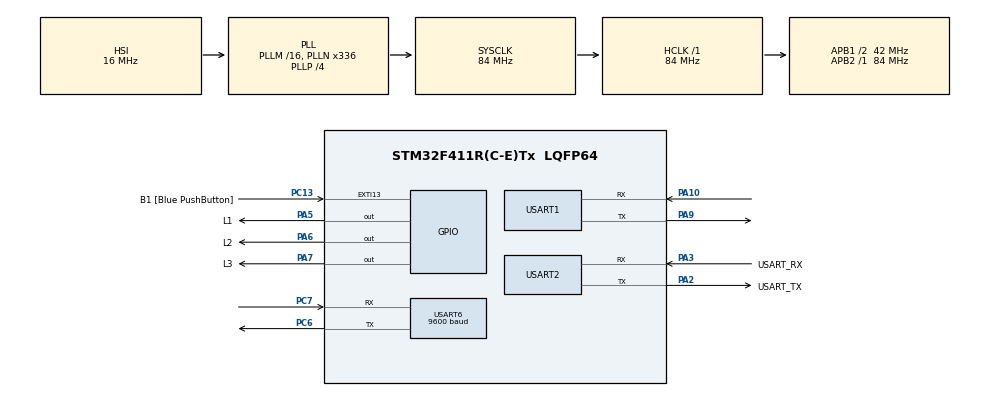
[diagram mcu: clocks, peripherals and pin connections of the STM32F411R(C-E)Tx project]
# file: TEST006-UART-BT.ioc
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Mcu.Family=STM32F4
Mcu.Name=STM32F411R(C-E)Tx
Mcu.Package=LQFP64
NVIC.EXTI15_10_IRQn=true\:0\:0\:false\:false\:true\:true\:true\:true
NVIC.PriorityGroup=NVIC_PRIORITYGROUP_0
NVIC.USART2_IRQn=true\:0\:0\:false\:false\:true\:true\:true\:true
NVIC.USART6_IRQn=true\:0\:0\:false\:false\:true\:true\:true\:true
PA10.Mode=Asynchronous
PA10.Signal=USART1_RX
PA13.GPIO_Label=TMS
PA13.Mode=Serial_Wire
PA13.Signal=SYS_JTMS-SWDIO
PA14.GPIO_Label=TCK
PA14.Mode=Serial_Wire
PA14.Signal=SYS_JTCK-SWCLK
PA2.GPIO_Label=USART_TX
PA2.Mode=Asynchronous
PA2.Signal=USART2_TX
PA3.GPIO_Label=USART_RX
PA3.Mode=Asynchronous
PA3.Signal=USART2_RX
PA5.GPIO_Label=L1
PA5.Signal=GPIO_Output
PA6.GPIO_Label=L2
PA6.Signal=GPIO_Output
PA7.GPIO_Label=L3
PA7.Signal=GPIO_Output
PA9.Mode=Asynchronous
PA9.Signal=USART1_TX
PB3.GPIO_Label=SWO
PB3.Signal=SYS_JTDO-SWO
PC13-ANTI_TAMP.GPIO_Label=B1 [Blue PushButton]
PC13-ANTI_TAMP.GPIO_ModeDefaultEXTI=GPIO_MODE_IT_FALLING
PC13-ANTI_TAMP.Signal=GPXTI13
PC14-OSC32_IN.Mode=LSE-External-Oscillator
PC14-OSC32_IN.Signal=RCC_OSC32_IN
PC15-OSC32_OUT.Mode=LSE-External-Oscillator
PC15-OSC32_OUT.Signal=RCC_OSC32_OUT
PC6.Mode=Asynchronous
PC6.Signal=USART6_TX
PC7.Mode=Asynchronous
PC7.Signal=USART6_RX
PH0\ -\ OSC_IN.Mode=HSE-External-Clock-Source
PH0\ -\ OSC_IN.Signal=RCC_OSC_IN
PH1\ -\ OSC_OUT.Mode=HSE-External-Clock-Source
PH1\ -\ OSC_OUT.Signal=RCC_OSC_OUT
ProjectManager.HeapSize=0x200
ProjectManager.StackSize=0x400
ProjectManager.TargetToolchain=STM32CubeIDE
RCC.48MHZClocksFreq_Value=84000000
RCC.AHBFreq_Value=84000000
RCC.APB1CLKDivider=RCC_HCLK_DIV2
RCC.APB1Freq_Value=42000000
RCC.APB1TimFreq_Value=84000000
RCC.APB2Freq_Value=84000000
RCC.APB2TimFreq_Value=84000000
RCC.CortexFreq_Value=84000000
RCC.FLatency-AdvancedSettings=FLASH_LATENCY_2
RCC.HCLKFreq_Value=84000000
RCC.HSE_VALUE=8000000
RCC.HSI_VALUE=16000000
RCC.PLLN=336
RCC.PLLP=RCC_PLLP_DIV4
RCC.SYSCLKFreq_VALUE=84000000
RCC.SYSCLKSource=RCC_SYSCLKSOURCE_PLLCLK
RCC.VCOOutputFreq_Value=336000000
USART1.VirtualMode=VM_ASYNC
USART2.VirtualMode=VM_ASYNC
USART6.BaudRate=9600
USART6.VirtualMode=VM_ASYNC
board=NUCLEO-F411RE

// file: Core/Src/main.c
/* USER CODE BEGIN Header */
/**
  ******************************************************************************
  * @file           : main.c
  * @brief          : Main program body
  ******************************************************************************
  * @attention
  *
  * Copyright (c) 2024 STMicroelectronics.
  * All rights reserved.
  *
  * This software is licensed under terms that can be found in the LICENSE file
  * in the root directory of this software component.
  * If no LICENSE file comes with this software, it is provided AS-IS.
  *
  ******************************************************************************
  */
/* USER CODE END Header */
#include "main.h"

/* USER CODE BEGIN Includes */
#include "myLib.h"
#include <stdio.h>
/* USER CODE END Includes */

UART_HandleTypeDef huart1;
UART_HandleTypeDef huart2;
UART_HandleTypeDef huart6;

void SystemClock_Config(void);
static void MX_GPIO_Init(void);
static void MX_USART2_UART_Init(void);
static void MX_USART6_UART_Init(void);
static void MX_USART1_UART_Init(void);

/* USER CODE BEGIN 0 */
void HAL_GPIO_EXTI_Callback(uint16_t GPIO_Pin)
{

}
extern myCMDSET myCmd[];
extern myBuffer Buf;
myBuffer *Buf1, *Buf2;	// null pointer
char dum1, dum2;
int idx1 = 0, idx2 = 0;
int eol = 0;
void HAL_UART_RxCpltCallback(UART_HandleTypeDef *huart)
{
	if(huart == &huart6) // address of handle
	{
		Buf1->v0[idx1++] = dum1;
		HAL_UART_Receive_IT(&huart6, &dum1, 1);
	}
	else if(huart == &huart2)	// KBD input by Putty
	{
		if(dum2 == '\r')		//[Enter] key
		{
			HAL_UART_Transmit(&huart2, "\r\n", 2, 10);		// Echo
			HAL_UART_Transmit(&huart6, Buf2, idx2, 100);	// redirection to Bluetooth
			switch(eol)
			{
			case 1:
				HAL_UART_Transmit(&huart6, "\r\n", 2, 10);		// CRLF
				break;
			case 2:
				HAL_UART_Transmit(&huart6, "\n", 1, 10);		// LF
				break;
			case 3:
				HAL_UART_Transmit(&huart6, "\0", 1, 10);		// NULL
				break;
			case 4:
				HAL_UART_Transmit(&huart6, "", 1, 10);		// NULL
				break;
			}

			idx2 = 0; // buffer = 0
		}
		else
		{
			HAL_UART_Transmit(&huart2, &dum2, 1, 10); // Echo
			Buf2->v0[idx2++] = dum2;
			Buf2->v0[idx2] = 0;	// Null
		}
		HAL_UART_Receive_IT(&huart2, &dum2, 1);
	}
}

char *p[10];	//	pointer array

/* USER CODE END 0 */

int main(void)
{

  /* USER CODE BEGIN 1 */
	myBuffer b1, b2;
	Buf1 = &b1;
	Buf2 = &b2;

	char *RED = "RED\0\r";
	char *GREEN = "GREEN\0\r";
	char *BLUE = "BLUE\0\r";
  /* USER CODE END 1 */

  /* MCU Configuration--------------------------------------------------------*/

  /* Reset of all peripherals, Initializes the Flash interface and the Systick. */
  HAL_Init();

  /* Configure the system clock */
  SystemClock_Config();

  /* Initialize all configured peripherals */
  MX_GPIO_Init();
  MX_USART2_UART_Init();
  MX_USART6_UART_Init();
  MX_USART1_UART_Init();
  /* USER CODE BEGIN 2 */

  ProgramStart("UART - Bluetooth"); Cursor(1);
  printf("Select EOL \r\n 1:CRLF\r\n 2:LF\r\n 3:NULL\r\n 4:none\r\n");
  setvbuf(stdin, NULL, _IONBF, 0);
  scanf("%d", &eol);
  char *t1 = "   Test string   ";
  char *t2 = Trim(t1);	// "test string"
  printf("Before : ([%s]) = [%s]\r\n", t1, t2);	free(t2);
  printf("After :([%s]) = [%s]\r\n", t1, t2);

  printf("your select is %d. \r\n", eol);
  HAL_UART_Receive_IT(&huart6, &dum1, 1);
  HAL_UART_Receive_IT(&huart2, &dum2, 1);
  /* USER CODE END 2 */

  /* Infinite loop */
  while (1)
  {

    /* USER CODE BEGIN 3 */
	if(idx1)
	{
		Buf1->v0[idx1] = 0;
		printf("%s\r\n", Buf1);

		int r = Parsing(Buf1, p);	// (Buf1, a1, a2, a3);  return val : 1:cmd,   2:optionl    3:option2
		if(r > 0)
		{
			printf("Parsing ---> [%s]  [%s]  [%s] \r\n", p[0], p[1], p[2]);
			if(myStrncmp(p[0], "LED", 3) == 0) LED_Control();
//			else if(strncmp(p[0], "MOTOR", 5) == 0) MOTOR_Control();
//			else if(strncmp(p[0], "BUZZER", 6) == 0) BUZZER_Control();
		}
		idx1 = 0;
	}
	HAL_Delay(500);
  }

		/*if(strncmp(Buf1, "RED", 3) == 0)	//string compare
		{
			HAL_GPIO_WritePin(RED_GPIO_Port, RED_Pin,1); //PA5
			HAL_Delay(500); //500ms
			HAL_GPIO_WritePin(RED_GPIO_Port, RED_Pin,0); //PA5
			HAL_Delay(500); //500ms
		}
		else if(strncmp(Buf1, "GREEN", 5) == 0)	//string compare
		{
			HAL_GPIO_WritePin(GREEN_GPIO_Port, GREEN_Pin,1); //PA5
			HAL_Delay(500); //500ms
			HAL_GPIO_WritePin(GREEN_GPIO_Port, GREEN_Pin,0); //PA5
			HAL_Delay(500); //500ms
		}
		else if(strncmp(Buf1, "BLUE", 4) == 0)	//string compare
		{
			HAL_GPIO_WritePin(BLUE_GPIO_Port, BLUE_Pin,1); //PA5
			HAL_Delay(500); //500ms
			HAL_GPIO_WritePin(BLUE_GPIO_Port, BLUE_Pin,0); //PA5
			HAL_Delay(500); //500ms
		}

		printf("%s\r\n", Buf1); idx1 = 0; // index 초기?  */

  /* USER CODE END 3 */
}

void SystemClock_Config(void)
{
  RCC_OscInitTypeDef RCC_OscInitStruct = {0};
  RCC_ClkInitTypeDef RCC_ClkInitStruct = {0};

  /** Configure the main internal regulator output voltage
  */
  __HAL_RCC_PWR_CLK_ENABLE();
  __HAL_PWR_VOLTAGESCALING_CONFIG(PWR_REGULATOR_VOLTAGE_SCALE1);

  /** Initializes the RCC Oscillators according to the specified parameters
  * in the RCC_OscInitTypeDef structure.
  */
  RCC_OscInitStruct.OscillatorType = RCC_OSCILLATORTYPE_HSI;
  RCC_OscInitStruct.HSIState = RCC_HSI_ON;
  RCC_OscInitStruct.HSICalibrationValue = RCC_HSICALIBRATION_DEFAULT;
  RCC_OscInitStruct.PLL.PLLState = RCC_PLL_ON;
  RCC_OscInitStruct.PLL.PLLSource = RCC_PLLSOURCE_HSI;
  RCC_OscInitStruct.PLL.PLLM = 16;
  RCC_OscInitStruct.PLL.PLLN = 336;
  RCC_OscInitStruct.PLL.PLLP = RCC_PLLP_DIV4;
  RCC_OscInitStruct.PLL.PLLQ = 4;
  if (HAL_RCC_OscConfig(&RCC_OscInitStruct) != HAL_OK)
  {
    Error_Handler();
  }

  /** Initializes the CPU, AHB and APB buses clocks
  */
  RCC_ClkInitStruct.ClockType = RCC_CLOCKTYPE_HCLK|RCC_CLOCKTYPE_SYSCLK
                              |RCC_CLOCKTYPE_PCLK1|RCC_CLOCKTYPE_PCLK2;
  RCC_ClkInitStruct.SYSCLKSource = RCC_SYSCLKSOURCE_PLLCLK;
  RCC_ClkInitStruct.AHBCLKDivider = RCC_SYSCLK_DIV1;
  RCC_ClkInitStruct.APB1CLKDivider = RCC_HCLK_DIV2;
  RCC_ClkInitStruct.APB2CLKDivider = RCC_HCLK_DIV1;

  if (HAL_RCC_ClockConfig(&RCC_ClkInitStruct, FLASH_LATENCY_2) != HAL_OK)
  {
    Error_Handler();
  }
}

static void MX_USART1_UART_Init(void)
{

  huart1.Instance = USART1;
  huart1.Init.BaudRate = 115200;
  huart1.Init.WordLength = UART_WORDLENGTH_8B;
  huart1.Init.StopBits = UART_STOPBITS_1;
  huart1.Init.Parity = UART_PARITY_NONE;
  huart1.Init.Mode = UART_MODE_TX_RX;
  huart1.Init.HwFlowCtl = UART_HWCONTROL_NONE;
  huart1.Init.OverSampling = UART_OVERSAMPLING_16;
  if (HAL_UART_Init(&huart1) != HAL_OK)
  {
    Error_Handler();
  }

}

static void MX_USART2_UART_Init(void)
{

  huart2.Instance = USART2;
  huart2.Init.BaudRate = 115200;
  huart2.Init.WordLength = UART_WORDLENGTH_8B;
  huart2.Init.StopBits = UART_STOPBITS_1;
  huart2.Init.Parity = UART_PARITY_NONE;
  huart2.Init.Mode = UART_MODE_TX_RX;
  huart2.Init.HwFlowCtl = UART_HWCONTROL_NONE;
  huart2.Init.OverSampling = UART_OVERSAMPLING_16;
  if (HAL_UART_Init(&huart2) != HAL_OK)
  {
    Error_Handler();
  }

}

static void MX_USART6_UART_Init(void)
{

  huart6.Instance = USART6;
  huart6.Init.BaudRate = 9600;
  huart6.Init.WordLength = UART_WORDLENGTH_8B;
  huart6.Init.StopBits = UART_STOPBITS_1;
  huart6.Init.Parity = UART_PARITY_NONE;
  huart6.Init.Mode = UART_MODE_TX_RX;
  huart6.Init.HwFlowCtl = UART_HWCONTROL_NONE;
  huart6.Init.OverSampling = UART_OVERSAMPLING_16;
  if (HAL_UART_Init(&huart6) != HAL_OK)
  {
    Error_Handler();
  }

}

static void MX_GPIO_Init(void)
{
  GPIO_InitTypeDef GPIO_InitStruct = {0};

  /* GPIO Ports Clock Enable */
  __HAL_RCC_GPIOC_CLK_ENABLE();
  __HAL_RCC_GPIOH_CLK_ENABLE();
  __HAL_RCC_GPIOA_CLK_ENABLE();
  __HAL_RCC_GPIOB_CLK_ENABLE();

  /*Configure GPIO pin Output Level */
  HAL_GPIO_WritePin(GPIOA, L1_Pin|L2_Pin|L3_Pin, GPIO_PIN_RESET);

  /*Configure GPIO pin : B1_Pin */
  GPIO_InitStruct.Pin = B1_Pin;
  GPIO_InitStruct.Mode = GPIO_MODE_IT_FALLING;
  GPIO_InitStruct.Pull = GPIO_NOPULL;
  HAL_GPIO_Init(B1_GPIO_Port, &GPIO_InitStruct);

  /*Configure GPIO pins : L1_Pin L2_Pin L3_Pin */
  GPIO_InitStruct.Pin = L1_Pin|L2_Pin|L3_Pin;
  GPIO_InitStruct.Mode = GPIO_MODE_OUTPUT_PP;
  GPIO_InitStruct.Pull = GPIO_NOPULL;
  GPIO_InitStruct.Speed = GPIO_SPEED_FREQ_LOW;
  HAL_GPIO_Init(GPIOA, &GPIO_InitStruct);

  /* EXTI interrupt init*/
  HAL_NVIC_SetPriority(EXTI15_10_IRQn, 0, 0);
  HAL_NVIC_EnableIRQ(EXTI15_10_IRQn);

}

void Error_Handler(void)
{
  __disable_irq();
  while (1)
  {
  }
}
